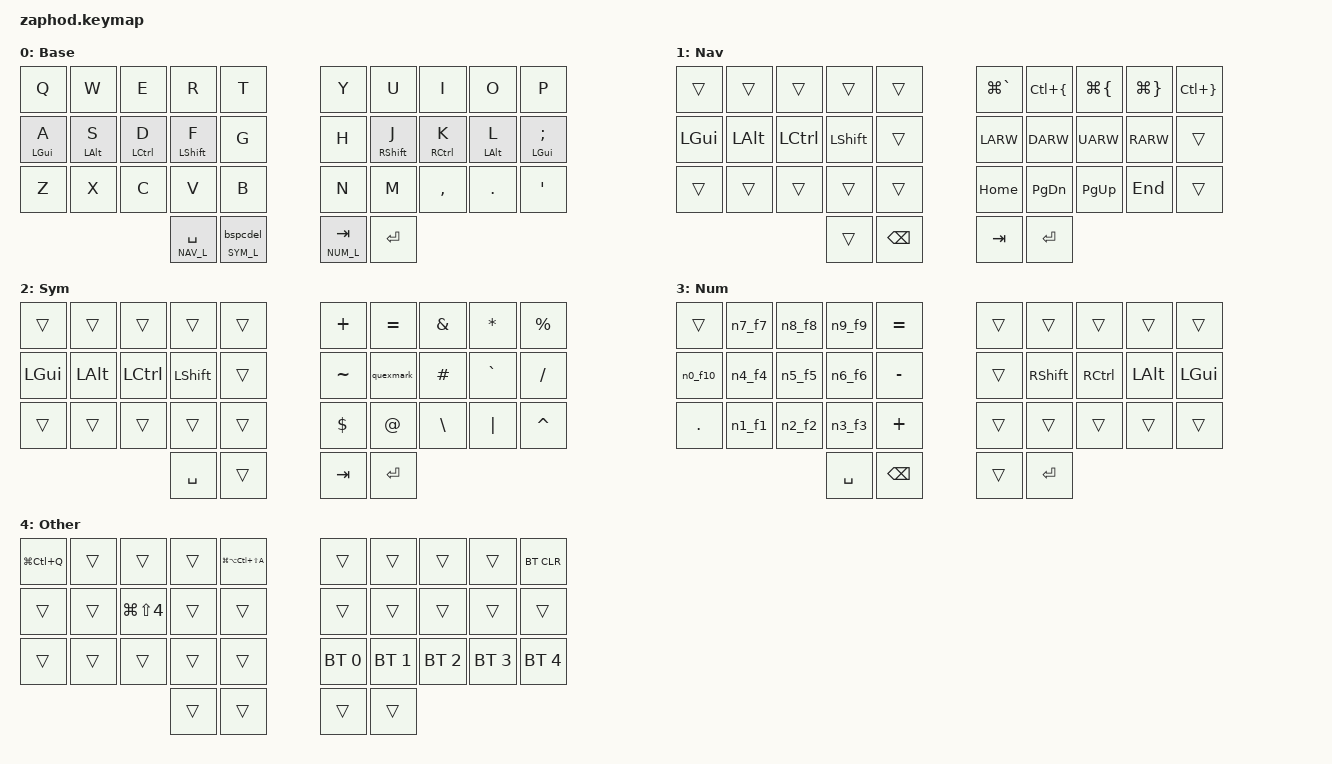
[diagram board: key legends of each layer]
/*
 * Copyright (c) 2021 Pete Johanson
 *
 * SPDX-License-Identifier: MIT
 */

#include <behaviors.dtsi>
#include <dt-bindings/zmk/keys.h>
#include <dt-bindings/zmk/bt.h>
#include <dt-bindings/zmk/outputs.h>

#define NAV_L 1
#define SYM_L 2
#define NUM_L 3
#define OTH_L 4

#define LOCK LG(LC(Q))
#define ZMUTE LG(LA(LC(LS(A))))
#define SCRNSHT LG(LS(N4))

#define COMBO(NAME, BINDINGS, KEYPOS) \
  combo_##NAME { \
    timeout-ms = <50>; \
    bindings = <BINDINGS>; \
    key-positions = <KEYPOS>; \
  };

// Using layer taps on thumbs, having quick tap as well helps w/ repeating space/backspace
&lt {
    tapping-term-ms = <240>;
    quick-tap-ms = <200>;
};

&caps_word {
    continue-list = <UNDERSCORE MINUS>;
};

/ {
    combos {
        compatible = "zmk,combos";

        // ( on u and j
        COMBO(lpar, &kp LPAR, 6 16)
        // ) on i and k
        COMBO(rpar, &kp RPAR, 7 17)
        // { on j and m
        COMBO(lbrc, &kp LBRC, 16 26)
        // } on k and ,
        COMBO(rbrc, &kp RBRC, 17 27)
        // [ on o and l
        COMBO(lbkt, &kp LBKT, 8 18)
        // ] on p and ;
        COMBO(rbkt, &kp RBKT, 9 19)
        // - on r and u
        COMBO(minus, &kp MINUS, 3 6)
        // _ on v and m
        COMBO(under, &kp UNDER, 23 26)
        // ESC on a and ;
        COMBO(esc, &kp ESC, 10 19)
        // caps_word on z and '
        COMBO(caps_word, &caps_word, 20 29)
        // both left thumb keys
        COMBO(other_sl, &sl OTH_L, 30 31)
    };

    behaviors {
        hm: homerow_mods {
            compatible = "zmk,behavior-hold-tap";
            label = "homerow mods";
            #binding-cells = <2>;
            tapping-term-ms = <240>;
            quick-tap-ms = <200>;
            flavor = "tap-preferred";
            bindings = <&kp>, <&kp>;
        };

        quexmark: question_exclamation_mark {
            compatible = "zmk,behavior-mod-morph";
            label = "QMARK_EXCL";
            #binding-cells = <0>;
            bindings = <&kp QMARK>, <&kp EXCL>;
            mods = <(MOD_LSFT|MOD_RSFT)>;
        };

        n0_f10: mrph_n0_f10 {
            compatible = "zmk,behavior-mod-morph";
            label = "N0_F10";
            #binding-cells = <0>;
            bindings = <&kp N0>, <&kp F10>;
            mods = <(MOD_LALT|MOD_RALT)>;
        };
        n1_f1: mrph_n1_f1 {
            compatible = "zmk,behavior-mod-morph";
            label = "N1_F1";
            #binding-cells = <0>;
            bindings = <&kp N1>, <&kp F1>;
            mods = <(MOD_LALT|MOD_RALT)>;
        };
        n2_f2: mrph_n2_f2 {
            compatible = "zmk,behavior-mod-morph";
            label = "N2_F2";
            #binding-cells = <0>;
            bindings = <&kp N2>, <&kp F2>;
            mods = <(MOD_LALT|MOD_RALT)>;
        };
        n3_f3: mrph_n3_f3 {
            compatible = "zmk,behavior-mod-morph";
            label = "N3_F3";
            #binding-cells = <0>;
            bindings = <&kp N3>, <&kp F3>;
            mods = <(MOD_LALT|MOD_RALT)>;
        };
        n4_f4: mrph_n4_f4 {
            compatible = "zmk,behavior-mod-morph";
            label = "N4_F4";
            #binding-cells = <0>;
            bindings = <&kp N4>, <&kp F4>;
            mods = <(MOD_LALT|MOD_RALT)>;
        };
        n5_f5: mrph_n5_f5 {
            compatible = "zmk,behavior-mod-morph";
            label = "N5_F5";
            #binding-cells = <0>;
            bindings = <&kp N5>, <&kp F5>;
            mods = <(MOD_LALT|MOD_RALT)>;
        };
        n6_f6: mrph_n6_f6 {
            compatible = "zmk,behavior-mod-morph";
            label = "N6_F6";
            #binding-cells = <0>;
            bindings = <&kp N6>, <&kp F6>;
            mods = <(MOD_LALT|MOD_RALT)>;
        };
        n7_f7: mrph_n7_f7 {
            compatible = "zmk,behavior-mod-morph";
            label = "N7_F7";
            #binding-cells = <0>;
            bindings = <&kp N7>, <&kp F7>;
            mods = <(MOD_LALT|MOD_RALT)>;
        };
        n8_f8: mrph_n8_f8 {
            compatible = "zmk,behavior-mod-morph";
            label = "N8_F8";
            #binding-cells = <0>;
            bindings = <&kp N8>, <&kp F8>;
            mods = <(MOD_LALT|MOD_RALT)>;
        };
        n9_f9: mrph_n9_f9 {
            compatible = "zmk,behavior-mod-morph";
            label = "N9_F9";
            #binding-cells = <0>;
            bindings = <&kp N9>, <&kp F9>;
            mods = <(MOD_LALT|MOD_RALT)>;
        };


        bspcdel: backspace_delete {
            compatible = "zmk,behavior-mod-morph";
            label = "BSPC_DEL";
            #binding-cells = <0>;
            bindings = <&kp BSPC>, <&kp DEL>;
            mods = <(MOD_LSFT|MOD_RSFT)>;
        };
        lt_bspc: layer_tap_backspace_delete {
            compatible = "zmk,behavior-hold-tap";
            label = "LT_BD";
            #binding-cells = <2>;
            tapping-term-ms = <240>;
            quick-tap-ms = <200>;
            flavor = "balanced";
            bindings = <&mo>, <&bspcdel>;
        };
    };

    keymap {
        compatible = "zmk,keymap";

        default_layer {
            label = "Base";
            bindings = <
                &kp Q      &kp W      &kp E       &kp R            &kp T              &kp Y          &kp U          &kp I         &kp O       &kp P
                &hm LGUI A &hm LALT S &hm LCTRL D &hm LSHFT F      &kp G              &kp H          &hm RSHFT J    &hm RCTRL K   &hm LALT L  &hm LGUI SEMI
                &kp Z      &kp X      &kp C       &kp V            &kp B              &kp N          &kp M          &kp COMMA     &kp DOT     &kp SQT
                                                  &lt NAV_L SPACE  &lt_bspc SYM_L 0   &lt NUM_L TAB  &kp RET
            >;
        };

        nav_layer {
            label = "Nav";
            bindings = <
                &trans     &trans     &trans      &trans           &trans         &kp LG(GRAVE)  &kp LC(LBRC)   &kp LG(LBRC)  &kp LG(RBRC)  &kp LC(RBRC)
                &kp LGUI   &kp LALT   &kp LCTRL   &kp LSHFT        &trans         &kp LARW       &kp DARW       &kp UARW      &kp RARW      &trans
                &trans     &trans     &trans      &trans           &trans         &kp HOME       &kp PG_DN      &kp PG_UP     &kp END       &trans
                                                  &trans           &kp BSPC       &kp TAB        &kp RET
            >;
        };

        sym_layer {
            label = "Sym";
            bindings = <
                &trans     &trans     &trans      &trans           &trans         &kp PLUS       &kp EQUAL      &kp AMPS      &kp ASTRK   &kp PRCNT
                &kp LGUI   &kp LALT   &kp LCTRL   &kp LSHFT        &trans         &kp TILDE      &quexmark      &kp HASH      &kp GRAVE   &kp FSLH
                &trans     &trans     &trans      &trans           &trans         &kp DOLLAR     &kp AT         &kp BSLH      &kp PIPE    &kp CARET
                                                  &kp SPACE        &trans         &kp TAB        &kp RET
            >;
        };

        num_layer {
            label = "Num";
            bindings = <
                &trans     &n7_f7     &n8_f8      &n9_f9           &kp EQUAL      &trans         &trans         &trans        &trans      &trans
                &n0_f10    &n4_f4     &n5_f5      &n6_f6           &kp MINUS      &trans         &kp RSHFT      &kp RCTRL     &kp LALT    &kp LGUI
                &kp DOT    &n1_f1     &n2_f2      &n3_f3           &kp PLUS       &trans         &trans         &trans        &trans      &trans
                                                  &kp SPACE        &kp BSPC       &trans         &kp RET
            >;
        };

        bt_layer {
            label = "Other";
            bindings = <
                &kp LOCK   &trans     &trans      &trans           &kp ZMUTE      &trans         &trans         &trans        &trans       &bt BT_CLR
                &trans     &trans     &kp SCRNSHT &trans           &trans         &trans         &trans         &trans        &trans       &trans
                &trans     &trans     &trans      &trans           &trans         &bt BT_SEL 0   &bt BT_SEL 1   &bt BT_SEL 2  &bt BT_SEL 3 &bt BT_SEL 4
                                                  &trans           &trans         &trans         &trans
            >;
        };
    };
};
